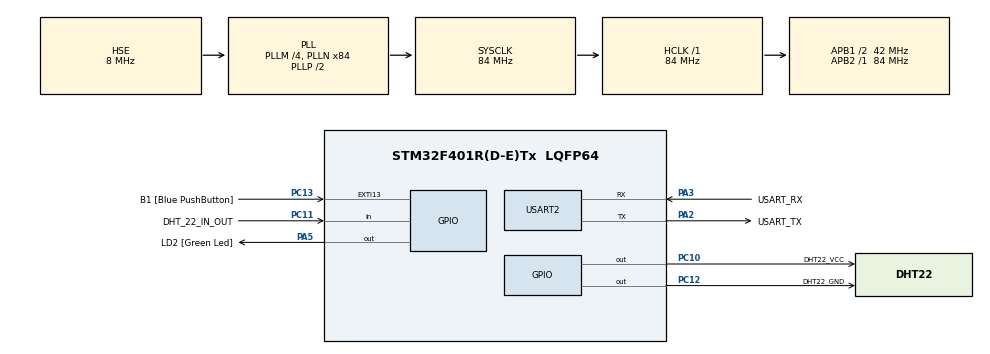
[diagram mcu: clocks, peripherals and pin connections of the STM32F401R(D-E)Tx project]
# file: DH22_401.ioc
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Mcu.Family=STM32F4
RCC.PLLSourceVirtual=RCC_PLLSOURCE_HSE
PC15-OSC32_OUT.Mode=LSE-External-Oscillator
PA2.GPIO_PuPd=GPIO_NOPULL
RCC.CortexFreq_Value=84000000
PC10.GPIO_Label=DHT22_VCC
PC13-ANTI_TAMP.GPIO_PuPd=GPIO_NOPULL
PC13-ANTI_TAMP.GPIO_Label=B1 [Blue PushButton]
PC10.Signal=GPIO_Output
PC11.Signal=GPIO_Input
PC12.Signal=GPIO_Output
PA14.GPIO_Label=TCK
PA3.GPIO_PuPd=GPIO_NOPULL
PH1\ -\ OSC_OUT.Mode=HSE-External-Oscillator
PA2.GPIO_Speed=GPIO_SPEED_FREQ_LOW
RCC.APB1CLKDivider=RCC_HCLK_DIV2
PC14-OSC32_IN.Signal=RCC_OSC32_IN
PA3.GPIO_Speed=GPIO_SPEED_FREQ_LOW
RCC.SYSCLKSource=RCC_SYSCLKSOURCE_PLLCLK
ProjectManager.StackSize=0x400
PA3.Mode=Asynchronous
PA13.Signal=SYS_JTMS-SWDIO
PH0\ -\ OSC_IN.Mode=HSE-External-Oscillator
PH0\ -\ OSC_IN.Signal=RCC_OSC_IN
ProjectManager.TargetToolchain=TrueSTUDIO
PA3.GPIO_Mode=GPIO_MODE_AF_PP
RCC.HCLKFreq_Value=84000000
RCC.APB2TimFreq_Value=84000000
PC15-OSC32_OUT.Signal=RCC_OSC32_OUT
RCC.AHBFreq_Value=84000000
PA5.Signal=GPIO_Output
RCC.HSE_VALUE=8000000
PH1\ -\ OSC_OUT.Signal=RCC_OSC_OUT
board=NUCLEO-F401RE
PC13-ANTI_TAMP.Signal=GPXTI13
RCC.VCOOutputFreq_Value=168000000
NVIC.TIM3_IRQn=true\:0\:0\:false\:false\:true\:true\:true
RCC.APB2Freq_Value=84000000
PC14-OSC32_IN.Mode=LSE-External-Oscillator
VP_TIM2_VS_ClockSourceINT.Mode=Internal
PA14.Mode=Serial_Wire
PA5.GPIO_PuPd=GPIO_NOPULL
PC11.GPIO_Label=DHT_22_IN_OUT
NVIC.TIM2_IRQn=true\:0\:0\:false\:false\:true\:true\:true
PA13.Mode=Serial_Wire
Mcu.Name=STM32F401R(D-E)Tx
PA2.Signal=USART2_TX
PA13.GPIO_Label=TMS
RCC.48MHZClocksFreq_Value=24000000
PB3.Signal=SYS_JTDO-SWO
RCC.SYSCLKFreq_VALUE=84000000
Mcu.Package=LQFP64
PA5.GPIO_Label=LD2 [Green Led]
USART2.VirtualMode=VM_ASYNC
PC12.GPIO_Label=DHT22_GND
PC13-ANTI_TAMP.GPIO_ModeDefaultEXTI=GPIO_MODE_IT_FALLING
PA2.GPIO_Label=USART_TX
PA14.Signal=SYS_JTCK-SWCLK
ProjectManager.HeapSize=0x200
RCC.HSI_VALUE=16000000
PA5.GPIO_Speed=GPIO_SPEED_FREQ_LOW
RCC.PLLQ=7
NVIC.PriorityGroup=NVIC_PRIORITYGROUP_0
RCC.PLLM=4
RCC.PLLN=84
RCC.APB1TimFreq_Value=84000000
PA2.Mode=Asynchronous
RCC.APB1Freq_Value=42000000
PA5.GPIO_Mode=GPIO_MODE_OUTPUT_PP
VP_TIM3_VS_ClockSourceINT.Mode=Internal
PA3.GPIO_Label=USART_RX
PA3.Signal=USART2_RX
PA2.GPIO_Mode=GPIO_MODE_AF_PP
PB3.GPIO_Label=SWO

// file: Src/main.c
/* USER CODE BEGIN Header */
/**
  ******************************************************************************
  * @file           : main.c
  * @brief          : Main program body
  ******************************************************************************
  * @attention
  *
  * <h2><center>&copy; Copyright (c) 2020 STMicroelectronics.
  * All rights reserved.</center></h2>
  *
  * This software component is licensed by ST under BSD 3-Clause license,
  * the "License"; You may not use this file except in compliance with the
  * License. You may obtain a copy of the License at:
  *                        opensource.org/licenses/BSD-3-Clause
  *
  ******************************************************************************
  */
/* USER CODE END Header */

#include "main.h"

/* USER CODE BEGIN Includes */
#include "string.h"
#include "dht_22.h"
#include "stdio.h"

/* USER CODE END Includes */

/* USER CODE BEGIN PTD */
extern uint32_t timercounter;

/* USER CODE END PTD */

TIM_HandleTypeDef htim2;
TIM_HandleTypeDef htim3;

UART_HandleTypeDef huart2;

/* USER CODE BEGIN PV */
uint8_t Rh_byte1, Rh_byte2, Temp_byte1, Temp_byte2;
uint16_t SUM, RH, TEMP;
int temp_low=0, temp_high=0, rh_low=0, rh_high=0;
float Temperature = 0;
float Humidity = 0;
uint8_t Presence = 0;
GPIO_InitTypeDef GPIO_InitStruct;
/* USER CODE END PV */

void SystemClock_Config(void);
static void MX_GPIO_Init(void);
static void MX_USART2_UART_Init(void);
static void MX_TIM2_Init(void);
static void MX_TIM3_Init(void);

/* USER CODE BEGIN 0 */
void delay (uint16_t time)
{
	/* change your code here for the delay in microseconds */

	__HAL_TIM_SET_COUNTER(&htim3, 0);
	while ((__HAL_TIM_GET_COUNTER(&htim3))<time);}
/* USER CODE END 0 */

int main(void)
{

  /* MCU Configuration--------------------------------------------------------*/

  /* Reset of all peripherals, Initializes the Flash interface and the Systick. */
  HAL_Init();

  /* Configure the system clock */
  SystemClock_Config();

  /* Initialize all configured peripherals */
  MX_GPIO_Init();
  MX_USART2_UART_Init();
  MX_TIM2_Init();
  MX_TIM3_Init();
  /* USER CODE BEGIN 2 */
  uint8_t buf[1000];
  HAL_GPIO_WritePin(DHT22_GND_GPIO_Port,DHT22_GND_Pin,GPIO_PIN_RESET);
  HAL_GPIO_WritePin(DHT22_VCC_GPIO_Port,DHT22_VCC_Pin,GPIO_PIN_SET);
  HAL_Delay(3000);
  if(HAL_TIM_Base_Init(&htim2) != HAL_OK){
	    /* Initialization Error */
	    Error_Handler();
	  }
  HAL_TIM_Base_Init(&htim3);
  HAL_TIM_Base_Start(&htim3);
  sprintf(buf,"starting\n\r");
  HAL_UART_Transmit(&huart2,buf,strlen(buf),1000);

  /* USER CODE END 2 */

  /* Infinite loop */
  /* USER CODE BEGIN WHILE */
  while (1)
  {/*****
	  HAL_GPIO_TogglePin(LD2_GPIO_Port,LD2_Pin);
for(int y=0;y<10;y++)delay(49998);
HAL_GPIO_TogglePin(LD2_GPIO_Port,LD2_Pin);
for(int y=0;y<10;y++)delay(49998);*******/
	  sprintf(buf,"pass\n\r");

 DHT22_start();
 check_response();

Rh_byte1 = read_data();
Rh_byte2 = read_data ();
Temp_byte1 = read_data ();
Temp_byte2 = read_data ();
SUM = read_data();
TEMP = ((Temp_byte1<<8)|Temp_byte2);
RH = ((Rh_byte1<<8)|Rh_byte2);
Temperature = (float) (TEMP/10.0);
Humidity = (float) (RH/10.0);
temp_high  = TEMP/10;
temp_low = TEMP%10;
rh_high = RH/10;
rh_low	 = RH%10;
sprintf(buf,"\n\r* TEMP:- %.2f C  RH:- %.2f %% \n\r",Temperature,Humidity);
HAL_UART_Transmit(&huart2,buf,strlen(buf),1000);
HAL_Delay(2000);
    /* USER CODE END WHILE */

  }
}

void SystemClock_Config(void)
{
  RCC_OscInitTypeDef RCC_OscInitStruct = {0};
  RCC_ClkInitTypeDef RCC_ClkInitStruct = {0};

  /** Configure the main internal regulator output voltage
  */
  __HAL_RCC_PWR_CLK_ENABLE();
  __HAL_PWR_VOLTAGESCALING_CONFIG(PWR_REGULATOR_VOLTAGE_SCALE2);
  /** Initializes the CPU, AHB and APB busses clocks
  */
  RCC_OscInitStruct.OscillatorType = RCC_OSCILLATORTYPE_HSE;
  RCC_OscInitStruct.HSEState = RCC_HSE_ON;
  RCC_OscInitStruct.PLL.PLLState = RCC_PLL_ON;
  RCC_OscInitStruct.PLL.PLLSource = RCC_PLLSOURCE_HSE;
  RCC_OscInitStruct.PLL.PLLM = 4;
  RCC_OscInitStruct.PLL.PLLN = 84;
  RCC_OscInitStruct.PLL.PLLP = RCC_PLLP_DIV2;
  RCC_OscInitStruct.PLL.PLLQ = 7;
  if (HAL_RCC_OscConfig(&RCC_OscInitStruct) != HAL_OK)
  {
    Error_Handler();
  }
  /** Initializes the CPU, AHB and APB busses clocks
  */
  RCC_ClkInitStruct.ClockType = RCC_CLOCKTYPE_HCLK|RCC_CLOCKTYPE_SYSCLK
                              |RCC_CLOCKTYPE_PCLK1|RCC_CLOCKTYPE_PCLK2;
  RCC_ClkInitStruct.SYSCLKSource = RCC_SYSCLKSOURCE_PLLCLK;
  RCC_ClkInitStruct.AHBCLKDivider = RCC_SYSCLK_DIV1;
  RCC_ClkInitStruct.APB1CLKDivider = RCC_HCLK_DIV2;
  RCC_ClkInitStruct.APB2CLKDivider = RCC_HCLK_DIV1;

  if (HAL_RCC_ClockConfig(&RCC_ClkInitStruct, FLASH_LATENCY_2) != HAL_OK)
  {
    Error_Handler();
  }
}

static void MX_TIM2_Init(void)
{

  TIM_ClockConfigTypeDef sClockSourceConfig = {0};
  TIM_MasterConfigTypeDef sMasterConfig = {0};

  htim2.Instance = TIM2;
  htim2.Init.Prescaler = 84-1;
  htim2.Init.CounterMode = TIM_COUNTERMODE_UP;
  htim2.Init.Period = 9;
  htim2.Init.ClockDivision = TIM_CLOCKDIVISION_DIV1;
  htim2.Init.AutoReloadPreload = TIM_AUTORELOAD_PRELOAD_DISABLE;
  if (HAL_TIM_Base_Init(&htim2) != HAL_OK)
  {
    Error_Handler();
  }
  sClockSourceConfig.ClockSource = TIM_CLOCKSOURCE_INTERNAL;
  if (HAL_TIM_ConfigClockSource(&htim2, &sClockSourceConfig) != HAL_OK)
  {
    Error_Handler();
  }
  sMasterConfig.MasterOutputTrigger = TIM_TRGO_RESET;
  sMasterConfig.MasterSlaveMode = TIM_MASTERSLAVEMODE_DISABLE;
  if (HAL_TIMEx_MasterConfigSynchronization(&htim2, &sMasterConfig) != HAL_OK)
  {
    Error_Handler();
  }

}

static void MX_TIM3_Init(void)
{

  TIM_ClockConfigTypeDef sClockSourceConfig = {0};
  TIM_MasterConfigTypeDef sMasterConfig = {0};

  htim3.Instance = TIM3;
  htim3.Init.Prescaler = 84-1;
  htim3.Init.CounterMode = TIM_COUNTERMODE_UP;
  htim3.Init.Period = 0xFFFF-1;
  htim3.Init.ClockDivision = TIM_CLOCKDIVISION_DIV1;
  htim3.Init.AutoReloadPreload = TIM_AUTORELOAD_PRELOAD_DISABLE;
  if (HAL_TIM_Base_Init(&htim3) != HAL_OK)
  {
    Error_Handler();
  }
  sClockSourceConfig.ClockSource = TIM_CLOCKSOURCE_INTERNAL;
  if (HAL_TIM_ConfigClockSource(&htim3, &sClockSourceConfig) != HAL_OK)
  {
    Error_Handler();
  }
  sMasterConfig.MasterOutputTrigger = TIM_TRGO_RESET;
  sMasterConfig.MasterSlaveMode = TIM_MASTERSLAVEMODE_DISABLE;
  if (HAL_TIMEx_MasterConfigSynchronization(&htim3, &sMasterConfig) != HAL_OK)
  {
    Error_Handler();
  }

}

static void MX_USART2_UART_Init(void)
{

  huart2.Instance = USART2;
  huart2.Init.BaudRate = 115200;
  huart2.Init.WordLength = UART_WORDLENGTH_8B;
  huart2.Init.StopBits = UART_STOPBITS_1;
  huart2.Init.Parity = UART_PARITY_NONE;
  huart2.Init.Mode = UART_MODE_TX_RX;
  huart2.Init.HwFlowCtl = UART_HWCONTROL_NONE;
  huart2.Init.OverSampling = UART_OVERSAMPLING_16;
  if (HAL_UART_Init(&huart2) != HAL_OK)
  {
    Error_Handler();
  }

}

static void MX_GPIO_Init(void)
{
  GPIO_InitTypeDef GPIO_InitStruct = {0};

  /* GPIO Ports Clock Enable */
  __HAL_RCC_GPIOC_CLK_ENABLE();
  __HAL_RCC_GPIOH_CLK_ENABLE();
  __HAL_RCC_GPIOA_CLK_ENABLE();
  __HAL_RCC_GPIOB_CLK_ENABLE();

  /*Configure GPIO pin Output Level */
  HAL_GPIO_WritePin(LD2_GPIO_Port, LD2_Pin, GPIO_PIN_RESET);

  /*Configure GPIO pin Output Level */
  HAL_GPIO_WritePin(GPIOC, DHT22_VCC_Pin|DHT22_GND_Pin, GPIO_PIN_RESET);

  /*Configure GPIO pin : B1_Pin */
  GPIO_InitStruct.Pin = B1_Pin;
  GPIO_InitStruct.Mode = GPIO_MODE_IT_FALLING;
  GPIO_InitStruct.Pull = GPIO_NOPULL;
  HAL_GPIO_Init(B1_GPIO_Port, &GPIO_InitStruct);

  /*Configure GPIO pin : LD2_Pin */
  GPIO_InitStruct.Pin = LD2_Pin;
  GPIO_InitStruct.Mode = GPIO_MODE_OUTPUT_PP;
  GPIO_InitStruct.Pull = GPIO_NOPULL;
  GPIO_InitStruct.Speed = GPIO_SPEED_FREQ_LOW;
  HAL_GPIO_Init(LD2_GPIO_Port, &GPIO_InitStruct);

  /*Configure GPIO pins : DHT22_VCC_Pin DHT22_GND_Pin */
  GPIO_InitStruct.Pin = DHT22_VCC_Pin|DHT22_GND_Pin;
  GPIO_InitStruct.Mode = GPIO_MODE_OUTPUT_PP;
  GPIO_InitStruct.Pull = GPIO_NOPULL;
  GPIO_InitStruct.Speed = GPIO_SPEED_FREQ_LOW;
  HAL_GPIO_Init(GPIOC, &GPIO_InitStruct);

  /*Configure GPIO pin : DHT_22_IN_OUT_Pin */
  GPIO_InitStruct.Pin = DHT_22_IN_OUT_Pin;
  GPIO_InitStruct.Mode = GPIO_MODE_INPUT;
  GPIO_InitStruct.Pull = GPIO_NOPULL;
  HAL_GPIO_Init(DHT_22_IN_OUT_GPIO_Port, &GPIO_InitStruct);

}

/* USER CODE BEGIN 4 */
void HAL_TIM_PeriodElapsedCallback(TIM_HandleTypeDef *htim)
{

if (htim->Instance == TIM2) {
	timercounter++;
	  }
}
/* USER CODE END 4 */

void Error_Handler(void)
{
}

/************************ (C) COPYRIGHT STMicroelectronics *****END OF FILE****/
